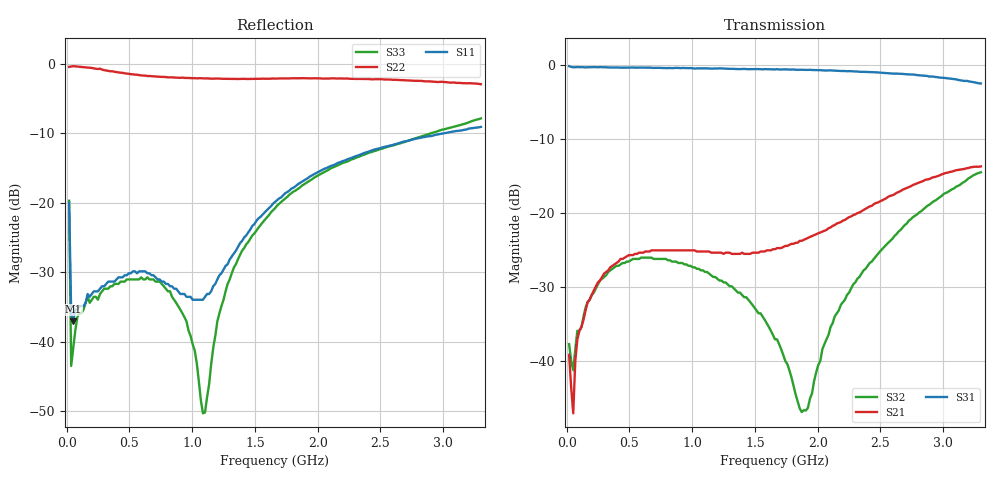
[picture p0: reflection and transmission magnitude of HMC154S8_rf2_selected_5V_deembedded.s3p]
!Hittite Microwave Corporation
!12 Elizabeth Drive
!Chelmsford, MA 01824
!Tel: 978-250-3343
!Fax: 978-250-3373
!Device: HMC154S8, DC - 2.5 GHz GaAs MMIC Low Distortion T/R Switch in 8-lead SOIC package
!Misc: Port1=RFC, Port2= RF1, Port3=RF2, RF2 ON, Bias: +5VDC
# MHZ S MA R 50
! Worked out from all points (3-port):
!   201 points, 20 MHz to 3.3 GHz, reference 50 ohm
!   strongest paths, dB at 20 MHz, 840 MHz, 1.66 GHz, 2.48 GHz, 3.3 GHz:
!     S31: -0.1, -0.4, -0.6, -1.0, -2.5
!     S21: -39.2, -25.0, -24.9, -18.6, -13.7
!     S32: -37.7, -26.6, -37.1, -25.5, -14.5
!   lowest |S11| = -37.1 dB at 52.8 MHz (marker M1), VSWR 1.03, Z = 51.3 + j0.465 ohm
!   |S11| at or under -10 dB: start of sweep to 3.015 GHz
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20  0.1 75.2  0.008417 121.0  0.967 -7.2
    0.011 -39.4  0.946 -6.8  0.011 60.7
    0.986 -7.1  0.013 94.2  0.103 82.6
36.4  0.016 -22.2  0.009996 96.2  0.972 -1.5
      0.006578 34.1  0.952 -11.1  0.00889 73.1
      0.975 -1.2  0.01 78.8  0.006689 -29.2
52.8  0.014 18.9  0.012 78.2  0.979 -2.7
      0.004426 87.0  0.957 -15.5  0.008927 72.2
      0.969 -2.2  0.008655 65.6  0.009023 44.9
282.4  0.025 36.1  0.037 50.9  0.97 -13.2
       0.037 50.6  0.905 -76.8  0.036 40.1
       0.97 -13.0  0.036 40.7  0.023 50.1
676  0.03 29.2  0.055 20.0  0.961 -30.6
     0.056 20.4  0.811 -151.5  0.05 -4.2
     0.962 -30.5  0.05 -4.0  0.028 39.0
1102.4  0.021 -60.5  0.055 6.9  0.953 -49.9
        0.055 7.4  0.781 159.6  0.04 -36.1
        0.955 -49.5  0.04 -36.1  0.003091 128.9
1282.8  0.036 -105.4  0.053 6.5  0.947 -58.1
        0.054 6.6  0.776 145.0  0.033 -46.2
        0.947 -57.7  0.033 -45.4  0.026 -168.2
1660  0.101 -149.4  0.057 12.8  0.939 -75.0
      0.057 13.3  0.779 121.1  0.015 -57.3
      0.937 -74.9  0.014 -57.7  0.091 -174.9
1889.6  0.144 -166.4  0.066 16.8  0.932 -85.9
        0.066 16.9  0.784 108.4  0.004523 2.7
        0.931 -86.1  0.004651 0.9  0.135 178.3
3300  0.35 78.5  0.206 -35.6  0.754 -159.6
      0.207 -35.6  0.71 22.4  0.189 -12.3
      0.753 -159.7  0.189 -12.2  0.403 116.1
